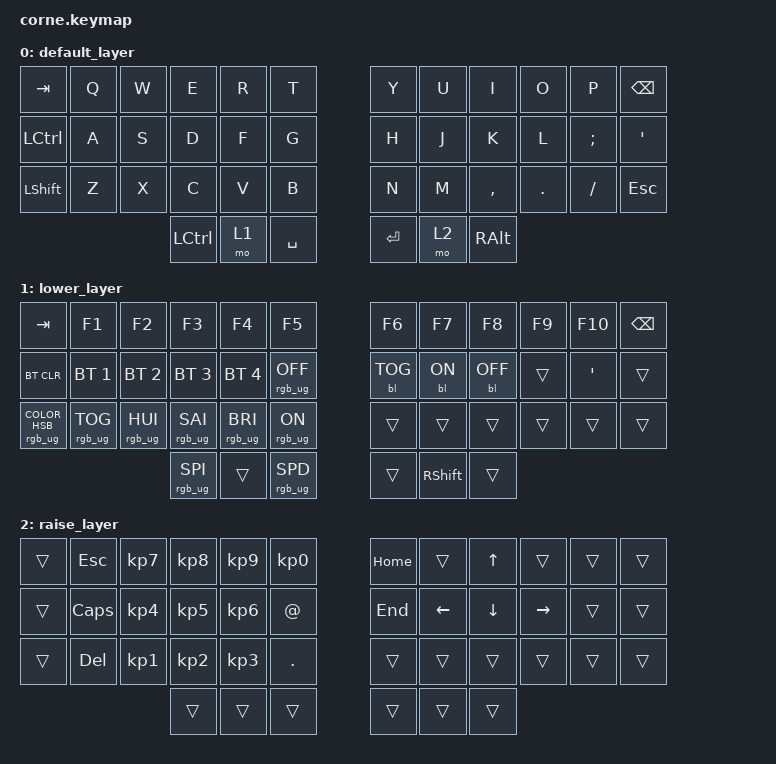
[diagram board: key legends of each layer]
/*
 * Copyright (c) 2020 The ZMK Contributors
 *
 * SPDX-License-Identifier: MIT
 */

#include <behaviors.dtsi>
#include <dt-bindings/zmk/backlight.h>
#include <dt-bindings/zmk/bt.h>
#include <dt-bindings/zmk/keys.h>
#include <dt-bindings/zmk/rgb.h>

/ {
    behaviors {
        hm: homerow_mods {
            compatible = "zmk,behavior-hold-tap";
            label = "HOMEROW_MODS";
            #binding-cells = <2>;
            tapping-term-ms = <200>;
            quick_tap_ms = <0>;
            flavor = "tap-preferred";
            bindings = <&kp>, <&kp>;

            quick-tap-ms = <180>;
            global-quick-tap;
        };

        ltq: ltq {
            compatible = "zmk,behavior-hold-tap";
            label = "LTQ";
            bindings = <&mo>, <&kp>;

            #binding-cells = <2>;
            tapping-term-ms = <600>;
            global-quick-tap;
            quick-tap-ms = <400>;
        };
    };

    combos {
        compatible = "zmk,combos";

        left_bkt {
            bindings = <&kp LEFT_BRACKET>;
            key-positions = <4 3>;
            timeout-ms = <50>;
        };

        right_bkt {
            bindings = <&kp RBKT>;
            key-positions = <7 8>;
            timeout-ms = <50>;
        };

        left_par {
            bindings = <&kp LEFT_PARENTHESIS>;
            key-positions = <15 16>;
            timeout-ms = <50>;
        };

        right_par {
            bindings = <&kp RIGHT_PARENTHESIS>;
            key-positions = <19 20>;
            timeout-ms = <50>;
        };

        left_brace {
            bindings = <&kp LEFT_BRACE>;
            key-positions = <27 28>;
            timeout-ms = <50>;
        };

        right_brace {
            bindings = <&kp RIGHT_BRACE>;
            key-positions = <32 31>;
            timeout-ms = <50>;
        };

        bac {
            bindings = <&kp BACKSLASH>;
            key-positions = <5 6>;
        };

        pipe {
            bindings = <&kp PIPE>;
            key-positions = <17 18>;
        };
    };

    keymap {
        compatible = "zmk,keymap";

        default_layer {
            bindings = <
&kp TAB    &kp Q  &kp W  &kp E      &kp R  &kp T      &kp Y      &kp U  &kp I          &kp O    &kp P          &kp BSPC
&kp LCTRL  &kp A  &kp S  &kp D      &kp F  &kp G      &kp H      &kp J  &kp K          &kp L    &kp SEMICOLON  &kp SQT
&kp LSHFT  &kp Z  &kp X  &kp C      &kp V  &kp B      &kp N      &kp M  &kp COMMA      &kp DOT  &kp FSLH       &kp ESC
                         &kp LCTRL  &mo 1  &kp SPACE  &kp ENTER  &mo 2  &kp RIGHT_ALT
            >;
        };

        lower_layer {
            bindings = <
&kp TAB                          &kp F1           &kp F2           &kp F3           &kp F4           &kp F5           &kp F6      &kp F7           &kp F8      &kp F9  &kp F10  &kp BSPC
&bt BT_CLR                       &bt BT_SEL 1     &bt BT_SEL 2     &bt BT_SEL 3     &bt BT_SEL 4     &rgb_ug RGB_OFF  &bl BL_TOG  &bl BL_ON        &bl BL_OFF  &trans  &kp SQT  &trans
&rgb_ug RGB_COLOR_HSB(0,100,49)  &rgb_ug RGB_TOG  &rgb_ug RGB_HUI  &rgb_ug RGB_SAI  &rgb_ug RGB_BRI  &rgb_ug RGB_ON   &trans      &trans           &trans      &trans  &trans   &trans
                                                                   &rgb_ug RGB_SPI  &trans           &rgb_ug RGB_SPD  &trans      &kp RIGHT_SHIFT  &trans
            >;
        };

        raise_layer {
            bindings = <
&trans  &kp ESC     &kp KP_NUMBER_7  &kp KP_NUMBER_8  &kp KP_NUMBER_9  &kp KP_NUMBER_0  &kp HOME  &trans    &kp UP    &trans     &trans  &trans
&trans  &kp CAPS    &kp KP_NUMBER_4  &kp KP_NUMBER_5  &kp KP_NUMBER_6  &kp AT           &kp END   &kp LEFT  &kp DOWN  &kp RIGHT  &trans  &trans
&trans  &kp DELETE  &kp KP_NUMBER_1  &kp KP_NUMBER_2  &kp KP_NUMBER_3  &kp DOT          &trans    &trans    &trans    &trans     &trans  &trans
                                     &trans           &trans           &trans           &trans    &trans    &trans
            >;
        };
    };
};
